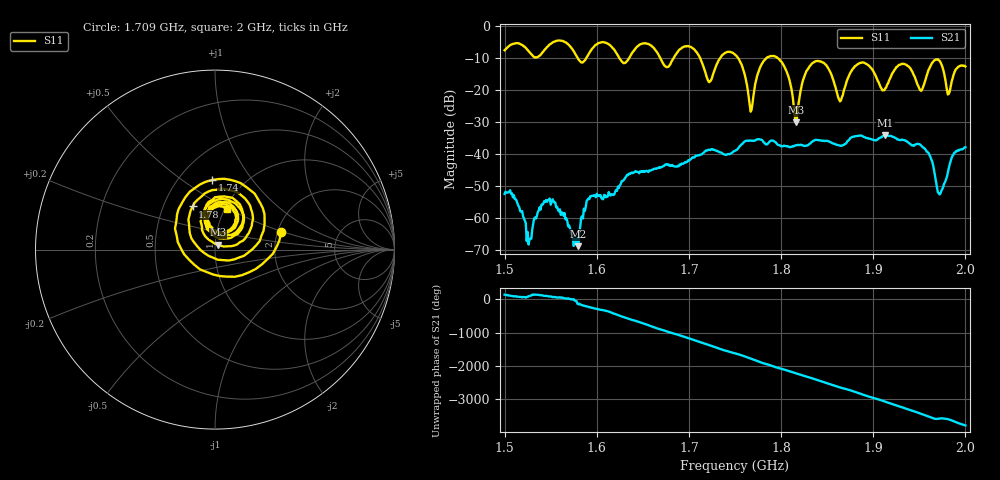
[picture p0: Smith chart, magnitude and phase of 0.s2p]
! NanoVNA-App by SYSJOINT et al v1.1.209 (+OD18)
! Date: 2026-01-21 14:21:07
! Start: 1,5GHz Stop: 2GHz Points: 501
! S-Parameter data: F S11 S21 S12 S22
# Hz S RI R 50
!  Frequency  S11_Real  S11_Imag  S21_Real  S21_Imag  S12_Real  S12_Imag  S22_Real  S22_Imag
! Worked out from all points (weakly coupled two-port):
!   501 points, 1.5 GHz to 2 GHz, reference 50 ohm
!   highest |S21| = -34.05 dB at 1.913 GHz (marker M1); lowest = -68.7 dB at 1.58 GHz (marker M2)
!   lowest |S11| = -30.1 dB at 1.816 GHz (marker M3), VSWR 1.06, Z = 51.6 + j2.75 ohm
!   |S11| at or under -10 dB: 1.712 GHz to 1.734 GHz (21.56 MHz wide, 1.25 % of centre); 1.753 GHz to 1.784 GHz (30.38 MHz wide, 1.72 % of centre); 1.797 GHz to end of sweep (the widest 3 of 6)
!   S12 and S22 are empty: the file has one direction only
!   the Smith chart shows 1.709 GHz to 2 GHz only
!   S11 on the Smith chart (normalised r, x): 1.709 GHz: 2.10, +0.47; 1.74 GHz: 0.72, +0.65; 1.78 GHz: 0.70, +0.36; 2 GHz: 1.03, +0.49
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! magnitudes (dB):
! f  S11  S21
! 1.5 GHz  -7.5  -52.4
! 1.526 GHz  -7.8  -68.2
! 1.547 GHz  -6.3  -54.3
! 1.58 GHz  -10.3  -68.7
! 1.584 GHz  -11.4  -59.3
! 1.667 GHz  -8.9  -44.2
! 1.709 GHz  -8.4  -40.4
! 1.722 GHz  -17.5  -38.6
! 1.74 GHz  -8.2  -40.2
! 1.75 GHz  -8.8  -38.9
! 1.767 GHz  -26.7  -35.7
! 1.78 GHz  -11.4  -35.7
! 1.802 GHz  -11.8  -37.5
! 1.816 GHz  -30.1  -37.2
! 1.834 GHz  -11.6  -36.0
! 1.864 GHz  -23.5  -37.3
! 1.913 GHz  -19.4  -34.0
! 1.917 GHz  -17.1  -34.2
! 1.958 GHz  -15.4  -39.1
! 1.972 GHz  -10.8  -52.5
! 1.982 GHz  -21.1  -44.3
! 2 GHz  -12.6  -37.8
